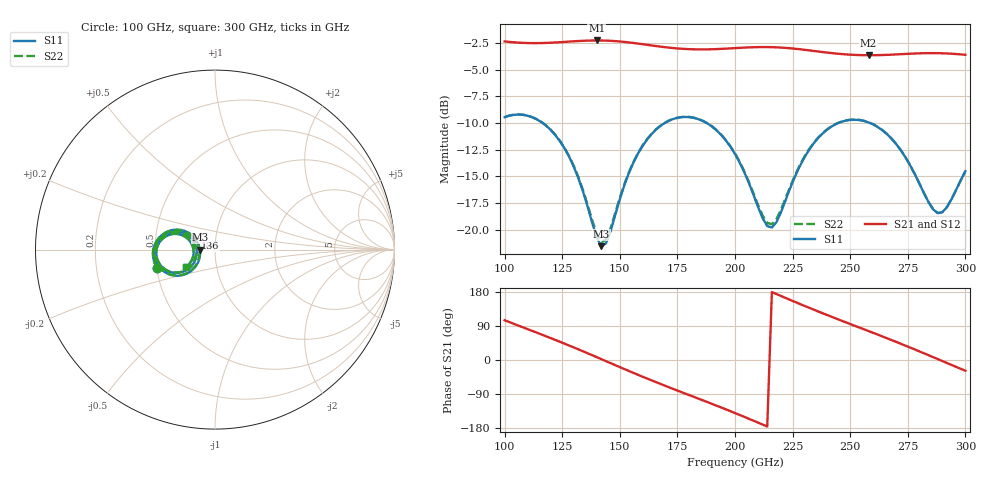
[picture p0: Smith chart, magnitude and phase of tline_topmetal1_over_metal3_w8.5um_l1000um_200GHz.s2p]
#  GHZ S DB R 50
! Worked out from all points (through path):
!   101 points, 100 GHz to 300 GHz, reference 50 ohm
!   highest |S21| = -2.24 dB at 140 GHz (marker M1); lowest = -3.6 dB at 258 GHz (marker M2)
!   group delay of S21, straight-line fit = 6.85 ps
!   lowest |S11| = -21.6 dB at 142 GHz (marker M3), VSWR 1.18, Z = 42.3 - j0.0495 ohm
!   |S11| at or under -10 dB: 116.5 GHz to 169.5 GHz (52.97 GHz wide, 37 % of centre); 187.8 GHz to 244.8 GHz (57.07 GHz wide, 26.4 % of centre); 258.6 GHz to end of sweep
!   |S22| runs from -21.2 to -9.2 dB; largest |S21 - S12| = 8.9e-14
!   S11 on the Smith chart (normalised r, x): 100 GHz: 0.51, -0.12; 136 GHz: 0.79, +0.10; 300 GHz: 0.71, -0.14
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100  -9.45 -162.2  -2.33 104.9  -2.33 104.9  -9.44 -162.0
118  -10.24 164.7  -2.47 62.6  -2.47 62.6  -10.22 165.2
126  -12.37 152.4  -2.38 43.2  -2.38 43.2  -12.32 153.1
134  -16.41 147.7  -2.27 23.0  -2.27 23.0  -16.29 148.9
136  -17.83 150.2  -2.26 17.9  -2.26 17.9  -17.66 151.4
140  -20.76 165.8  -2.24 7.4  -2.24 7.4  -20.43 166.7
142  -21.56 -179.6  -2.24 2.2  -2.24 2.2  -21.18 -179.4
146  -20.14 -151.0  -2.27 -8.3  -2.27 -8.3  -19.87 -152.1
154  -14.66 -138.2  -2.43 -29.1  -2.43 -29.1  -14.59 -139.1
168  -10.21 -156.5  -2.83 -64.0  -2.83 -64.0  -10.18 -156.8
184  -9.62 176.4  -3.08 -101.6  -3.08 -101.6  -9.60 176.4
200  -12.90 154.0  -2.96 -139.9  -2.96 -139.9  -12.85 154.6
208  -16.73 154.7  -2.88 -160.1  -2.88 -160.1  -16.59 155.5
216  -19.81 -172.4  -2.87 179.2  -2.87 179.2  -19.49 -172.6
224  -16.09 -145.0  -2.98 158.5  -2.98 158.5  -15.94 -146.2
234  -11.95 -149.0  -3.22 133.3  -3.22 133.3  -11.90 -149.8
246  -9.90 -166.1  -3.51 104.4  -3.51 104.4  -9.87 -166.6
258  -9.94 175.5  -3.63 76.3  -3.63 76.3  -9.92 175.1
268  -11.48 162.0  -3.57 52.5  -3.57 52.5  -11.46 161.7
278  -14.78 156.7  -3.47 27.9  -3.47 27.9  -14.77 156.4
288  -18.45 -179.0  -3.44 2.4  -3.44 2.4  -18.44 -179.3
300  -14.52 -148.9  -3.59 -28.3  -3.59 -28.3  -14.52 -149.1
